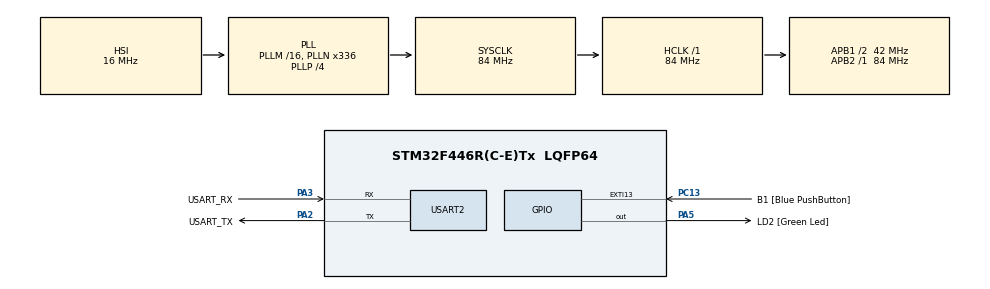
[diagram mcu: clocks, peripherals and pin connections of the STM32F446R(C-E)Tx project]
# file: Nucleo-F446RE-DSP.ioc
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Mcu.Family=STM32F4
Mcu.Name=STM32F446R(C-E)Tx
Mcu.Package=LQFP64
NVIC.PriorityGroup=NVIC_PRIORITYGROUP_0
PA13.GPIO_Label=TMS
PA13.Mode=Serial_Wire
PA13.Signal=SYS_JTMS-SWDIO
PA14.GPIO_Label=TCK
PA14.Mode=Serial_Wire
PA14.Signal=SYS_JTCK-SWCLK
PA2.GPIO_Label=USART_TX
PA2.Mode=Asynchronous
PA2.Signal=USART2_TX
PA3.GPIO_Label=USART_RX
PA3.Mode=Asynchronous
PA3.Signal=USART2_RX
PA5.GPIO_Label=LD2 [Green Led]
PA5.Signal=GPIO_Output
PB3.GPIO_Label=SWO
PB3.Signal=SYS_JTDO-SWO
PC13.GPIO_Label=B1 [Blue PushButton]
PC13.GPIO_ModeDefaultEXTI=GPIO_MODE_IT_FALLING
PC13.Signal=GPXTI13
PC14-OSC32_IN.Mode=LSE-External-Oscillator
PC14-OSC32_IN.Signal=RCC_OSC32_IN
PC15-OSC32_OUT.Mode=LSE-External-Oscillator
PC15-OSC32_OUT.Signal=RCC_OSC32_OUT
PH0-OSC_IN.Mode=HSE-External-Oscillator
PH0-OSC_IN.Signal=RCC_OSC_IN
PH1-OSC_OUT.Mode=HSE-External-Oscillator
PH1-OSC_OUT.Signal=RCC_OSC_OUT
ProjectManager.HeapSize=0x200
ProjectManager.StackSize=0x400
ProjectManager.TargetToolchain=STM32CubeIDE
RCC.48MHZClocksFreq_Value=84000000
RCC.AHBFreq_Value=84000000
RCC.APB1CLKDivider=RCC_HCLK_DIV2
RCC.APB1Freq_Value=42000000
RCC.APB1TimFreq_Value=84000000
RCC.APB2Freq_Value=84000000
RCC.APB2TimFreq_Value=84000000
RCC.CortexFreq_Value=84000000
RCC.FLatency-AdvancedSettings=FLASH_LATENCY_2
RCC.HCLKFreq_Value=84000000
RCC.HSE_VALUE=8000000
RCC.HSI_VALUE=16000000
RCC.PLLN=336
RCC.PLLP=RCC_PLLP_DIV4
RCC.SYSCLKFreq_VALUE=84000000
RCC.SYSCLKSource=RCC_SYSCLKSOURCE_PLLCLK
RCC.USBFreq_Value=168000000
RCC.VCOOutputFreq_Value=336000000
USART2.VirtualMode=VM_ASYNC
board=NUCLEO-F446RE

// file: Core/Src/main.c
/* USER CODE BEGIN Header */
/**
  ******************************************************************************
  * @file           : main.c
  * @brief          : Main program body
  ******************************************************************************
  * @attention
  *
  * Copyright (c) 2025 STMicroelectronics.
  * All rights reserved.
  *
  * This software is licensed under terms that can be found in the LICENSE file
  * in the root directory of this software component.
  * If no LICENSE file comes with this software, it is provided AS-IS.
  *
  ******************************************************************************
  */
/* USER CODE END Header */
#include "main.h"
#include "usart.h"
#include "gpio.h"

/* USER CODE BEGIN Includes */
#include "dsp.h"
/* USER CODE END Includes */

/* USER CODE BEGIN PM */

#define TEST_FUNC_LENGTH	64
#define UNITY_STEP 			0xFFF
int16_t step[TEST_FUNC_LENGTH] = {0};
int16_t impulse[TEST_FUNC_LENGTH] = {0};
int16_t output[TEST_FUNC_LENGTH] = {0};

float f_step[TEST_FUNC_LENGTH] = {0};
float f_impulse[TEST_FUNC_LENGTH] = {0};
float f_output[TEST_FUNC_LENGTH] = {0};

void reset_filter(void){
	// resetting filter (there is a static array-variable that needs to be cleared to zero )
	for (uint16_t i = 0; i < TEST_FUNC_LENGTH*2; i++) {
		int16_t a = fir_int16( 0 );
		float b = fir_float(0.0);
	}
}

void test_fir_int16(void) {
	// create step-response
	for (uint16_t i = 0; i < TEST_FUNC_LENGTH; i++) {
		step[i] = UNITY_STEP;
	}
	step[0] = 0;
	// create impulse response
	impulse[0]= UNITY_STEP;

	// show test functions
	myprintf("Impulse: ");
	for (uint16_t i = 0; i < TEST_FUNC_LENGTH; i++) {
		myprintf("%d, ", impulse[i]);
	}
	myprintf("\n");

	myprintf("Step: ");
	for (uint16_t i = 0; i < TEST_FUNC_LENGTH; i++) {
		myprintf("%d, ", step[i]);
	}
	myprintf("\n");

	// perform filter: works
	myprintf("stepresponse: ");
	for (uint16_t i = 0; i < TEST_FUNC_LENGTH; i++) {
		output[i] = fir_int16( step[i] );
		myprintf("%d, ", output[i]);
	}
	myprintf("\n");

	reset_filter();

	// perform filter: works
	myprintf("impulseresponse: ");
	for (uint16_t i = 0; i < TEST_FUNC_LENGTH; i++) {
		output[i] = fir_int16( impulse[i] );
		myprintf("%d, ", output[i]);
	}
	myprintf("\n");

	reset_filter();
}

void test_fir_float(void) {
		// create step-response
		for (uint16_t i = 0; i < TEST_FUNC_LENGTH; i++) {
			f_step[i] = 1.0;
		}
		f_step[0] = 0.0;
		// create impulse response
		f_impulse[0]= 1.0;

		// show test functions
		myprintf("Impulse: ");
		for (uint16_t i = 0; i < TEST_FUNC_LENGTH; i++) {
			myprintf("%.2f, ", f_impulse[i]);
		}
		myprintf("\n");

		myprintf("Step: ");
		for (uint16_t i = 0; i < TEST_FUNC_LENGTH; i++) {
			myprintf("%.2f, ", f_step[i]);
		}
		myprintf("\n");

		// perform filter: works
		myprintf("stepresponse: ");
		for (uint16_t i = 0; i < TEST_FUNC_LENGTH; i++) {
			f_output[i] = fir_float( f_step[i] );
			myprintf("%.2f, ", f_output[i]);
		}
		myprintf("\n");

		reset_filter();

		// perform filter: works
		myprintf("impulseresponse: ");
		for (uint16_t i = 0; i < TEST_FUNC_LENGTH; i++) {
			f_output[i] = fir_float( f_impulse[i] );
			myprintf("%.2f, ", f_output[i]);
		}
		myprintf("\n");

		reset_filter();
}

void test_fir_int16_sin(){

}

/* USER CODE END PM */

void SystemClock_Config(void);

int main(void)
{

  /* MCU Configuration--------------------------------------------------------*/

  /* Reset of all peripherals, Initializes the Flash interface and the Systick. */
  HAL_Init();

  /* Configure the system clock */
  SystemClock_Config();

  /* Initialize all configured peripherals */
  MX_GPIO_Init();
  MX_USART2_UART_Init();
  /* USER CODE BEGIN 2 */

  test_fir_int16();
  test_fir_float();

  /* USER CODE END 2 */

  /* Infinite loop */
  while (1)
  {

  }
}

void SystemClock_Config(void)
{
  RCC_OscInitTypeDef RCC_OscInitStruct = {0};
  RCC_ClkInitTypeDef RCC_ClkInitStruct = {0};

  /** Configure the main internal regulator output voltage
  */
  __HAL_RCC_PWR_CLK_ENABLE();
  __HAL_PWR_VOLTAGESCALING_CONFIG(PWR_REGULATOR_VOLTAGE_SCALE3);

  /** Initializes the RCC Oscillators according to the specified parameters
  * in the RCC_OscInitTypeDef structure.
  */
  RCC_OscInitStruct.OscillatorType = RCC_OSCILLATORTYPE_HSI;
  RCC_OscInitStruct.HSIState = RCC_HSI_ON;
  RCC_OscInitStruct.HSICalibrationValue = RCC_HSICALIBRATION_DEFAULT;
  RCC_OscInitStruct.PLL.PLLState = RCC_PLL_ON;
  RCC_OscInitStruct.PLL.PLLSource = RCC_PLLSOURCE_HSI;
  RCC_OscInitStruct.PLL.PLLM = 16;
  RCC_OscInitStruct.PLL.PLLN = 336;
  RCC_OscInitStruct.PLL.PLLP = RCC_PLLP_DIV4;
  RCC_OscInitStruct.PLL.PLLQ = 2;
  RCC_OscInitStruct.PLL.PLLR = 2;
  if (HAL_RCC_OscConfig(&RCC_OscInitStruct) != HAL_OK)
  {
    Error_Handler();
  }

  /** Initializes the CPU, AHB and APB buses clocks
  */
  RCC_ClkInitStruct.ClockType = RCC_CLOCKTYPE_HCLK|RCC_CLOCKTYPE_SYSCLK
                              |RCC_CLOCKTYPE_PCLK1|RCC_CLOCKTYPE_PCLK2;
  RCC_ClkInitStruct.SYSCLKSource = RCC_SYSCLKSOURCE_PLLCLK;
  RCC_ClkInitStruct.AHBCLKDivider = RCC_SYSCLK_DIV1;
  RCC_ClkInitStruct.APB1CLKDivider = RCC_HCLK_DIV2;
  RCC_ClkInitStruct.APB2CLKDivider = RCC_HCLK_DIV1;

  if (HAL_RCC_ClockConfig(&RCC_ClkInitStruct, FLASH_LATENCY_2) != HAL_OK)
  {
    Error_Handler();
  }
}

void Error_Handler(void)
{
  __disable_irq();
  while (1)
  {
  }
}
